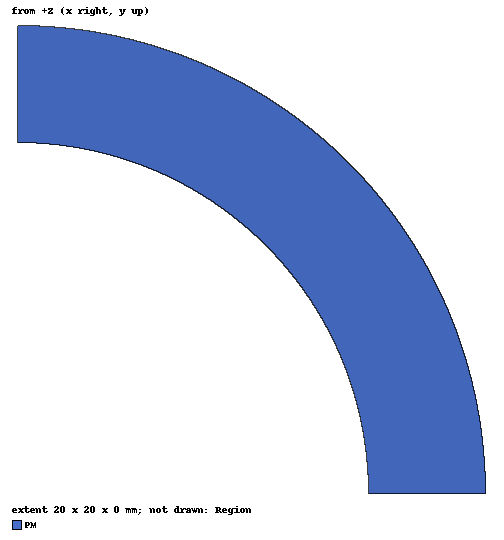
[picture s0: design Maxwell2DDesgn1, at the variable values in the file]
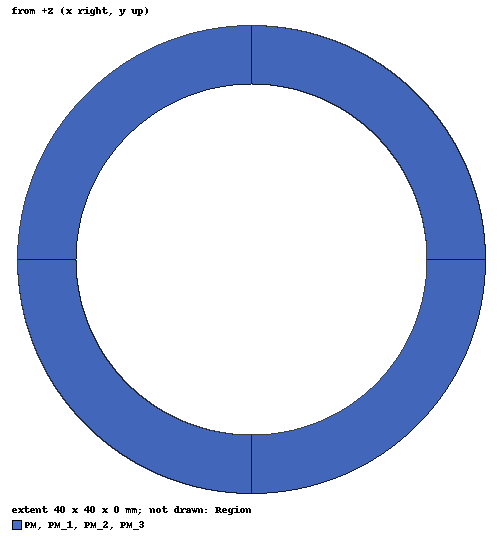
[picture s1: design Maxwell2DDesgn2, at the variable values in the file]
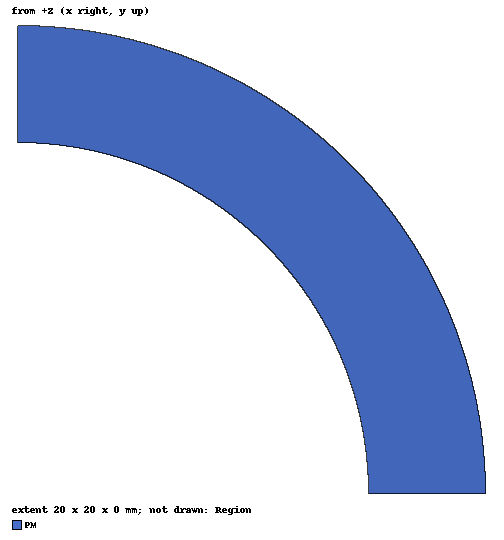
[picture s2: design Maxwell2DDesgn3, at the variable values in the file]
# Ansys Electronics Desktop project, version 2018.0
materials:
  SmCo24: CoordinateSystemType=Cylindrical permittivity=1 permeability=1.0631382 conductivity=1111111 magnetic_coercivity{Magnitude=-756000A_per_meter DirComp1=0 DirComp2=1 DirComp3=0} lande_g_factor=2
  vacuum: permittivity=1
  SmCo25: permittivity=1 permeability=1.0631382 conductivity=1111111 magnetic_coercivity{Magnitude=-756000A_per_meter DirComp1=1 DirComp2=0 DirComp3=0} lande_g_factor=2
  SmCo27: CoordinateSystemType=Cylindrical permittivity=1 permeability=1.0631382 conductivity=1111111 magnetic_coercivity{Magnitude=-756000A_per_meter DirComp1=-1 DirComp2=0 DirComp3=0} lande_g_factor=2

design Maxwell2DDesgn1 (Maxwell 2D, Magnetostatic, XY geometry, model units mm)
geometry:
  PM [SmCo24] = circle(normal=Z, centre=(0mm, 0mm, 0mm), radius=20mm)
  Circle2 = circle(normal=Z, centre=(0mm, 0mm, 0mm), radius=15mm)
  PM.subtract(Circle2)
  PM.split(plane=ZX, keep=PositiveOnly)
  PM.split(plane=YZ, keep=PositiveOnly)
  Region [vacuum] = region(percentage_offset: +X=100, -X=100, +Y=100, -Y=100, +Z=0, -Z=0)
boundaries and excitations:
  Balloon1: Balloon Edges=Region.edge(all 4)
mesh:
  initial mesh: MeshMethod=AnsoftTAU
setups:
  Setup1: Magnetostatic MaximumPasses=10 MinimumPasses=2 MinimumConvergedPasses=1 PercentRefinement=30 PercentError=1 NonLinearResidual=0.0001
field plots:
  Flux_Lines1: A over Region on Setup1 : LastAdaptive
  B_Vector1: B over Region on Setup1 : LastAdaptive

design Maxwell2DDesign2 (Maxwell 2D, Magnetostatic, XY geometry, model units mm)
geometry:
  PM [SmCo25] = rectangle(corner=(-7.5mm, 2.5mm, 0mm), x_size=15mm, y_size=-5mm)
  Region [vacuum] = region(percentage_offset: +X=100, -X=100, +Y=100, -Y=100, +Z=0, -Z=0)
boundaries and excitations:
  Balloon1: Balloon Edges=Region.edge(all 4)
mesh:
  initial mesh: MeshMethod=AnsoftTAU
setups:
  Setup1: Magnetostatic MaximumPasses=10 MinimumPasses=2 MinimumConvergedPasses=1 PercentRefinement=30 PercentError=1 NonLinearResidual=0.0001
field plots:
  B_Vector1: B over PM, Region on Setup1 : LastAdaptive

design Maxwell2DDesign3 (Maxwell 2D, Magnetostatic, XY geometry, model units mm)
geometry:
  PM [SmCo25] = rectangle(corner=(-7.5mm, 2.5mm, 0mm), x_size=15mm, y_size=-5mm)
  Region [vacuum] = region(percentage_offset: +X=100, -X=100, +Y=100, -Y=100, +Z=0, -Z=0)
  PM.rotate(axis=Z, angle=90deg)
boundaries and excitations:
  Balloon1: Balloon Edges=Region.edge(all 4)
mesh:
  initial mesh: MeshMethod=AnsoftTAU
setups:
  Setup1: Magnetostatic MaximumPasses=10 MinimumPasses=2 MinimumConvergedPasses=1 PercentRefinement=30 PercentError=1 NonLinearResidual=0.0001
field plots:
  B_Vector1: B over PM, Region on Setup1 : LastAdaptive

design Maxwell2DDesign4 (Maxwell 2D, Magnetostatic, XY geometry, model units mm)
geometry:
  coordinate_system RelativeCS1 = origin=(0mm, 0mm, 0mm) x=(0.70710678mm, 0.70710678mm, 0mm) y=(-0.70710678mm, 0.70710678mm, 0mm)
  PM [SmCo25, oriented by RelativeCS1] = rectangle(corner=(-7.5mm, 2.5mm, 0mm), x_size=15mm, y_size=-5mm)
  Region [vacuum] = region(percentage_offset: +X=100, -X=100, +Y=100, -Y=100, +Z=0, -Z=0)
  PM.rotate(axis=Z, angle=45deg)
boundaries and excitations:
  Balloon1: Balloon Edges=Region.edge(all 4)
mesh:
  initial mesh: MeshMethod=AnsoftTAU
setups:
  Setup1: Magnetostatic MaximumPasses=10 MinimumPasses=2 MinimumConvergedPasses=1 PercentRefinement=30 PercentError=1 NonLinearResidual=0.0001
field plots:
  B_Vector1: B over PM, Region on Setup1 : LastAdaptive

design Maxwell2DDesgn2 (Maxwell 2D, Magnetostatic, XY geometry, model units mm)
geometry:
  PM [SmCo24] = circle(normal=Z, centre=(0mm, 0mm, 0mm), radius=20mm)
  Circle2 = circle(normal=Z, centre=(0mm, 0mm, 0mm), radius=15mm)
  PM.subtract(Circle2)
  PM.split(plane=ZX, keep=PositiveOnly)
  PM.split(plane=YZ, keep=PositiveOnly)
  Region [vacuum] = region(percentage_offset: +X=100, -X=100, +Y=100, -Y=100, +Z=0, -Z=0)
  PM_1 [SmCo27], PM_2 [SmCo24], PM_3 [SmCo27] = PM.duplicate_around_axis(axis=Z, angle=90deg, total=4)
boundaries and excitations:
  Balloon1: Balloon Edges=Region.edge(all 4)
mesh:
  initial mesh: MeshMethod=AnsoftTAU
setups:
  Setup1: Magnetostatic MaximumPasses=10 MinimumPasses=2 MinimumConvergedPasses=1 PercentRefinement=30 PercentError=1 NonLinearResidual=0.0001
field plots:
  Flux_Lines1: A over Region on Setup1 : LastAdaptive
  B_Vector1: B over Region on Setup1 : LastAdaptive

design Maxwell2DDesgn3 (Maxwell 2D, Magnetostatic, XY geometry, model units mm)
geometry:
  PM [SmCo24] = circle(normal=Z, centre=(0mm, 0mm, 0mm), radius=20mm)
  Circle2 = circle(normal=Z, centre=(0mm, 0mm, 0mm), radius=15mm)
  PM.subtract(Circle2)
  PM.split(plane=ZX, keep=PositiveOnly)
  PM.split(plane=YZ, keep=PositiveOnly)
  Region [vacuum] = region(percentage_offset: +X=100, -X=100, +Y=100, -Y=100, +Z=0, -Z=0)
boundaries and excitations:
  Balloon1: Balloon Edges=Region.edge(all 4)
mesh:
  initial mesh: MeshMethod=AnsoftTAU
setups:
  Setup1: Magnetostatic MaximumPasses=10 MinimumPasses=2 MinimumConvergedPasses=1 PercentRefinement=30 PercentError=1 NonLinearResidual=0.0001
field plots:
  Flux_Lines1: A over Region on Setup1 : LastAdaptive
  B_Vector1: B over Region on Setup1 : LastAdaptive
